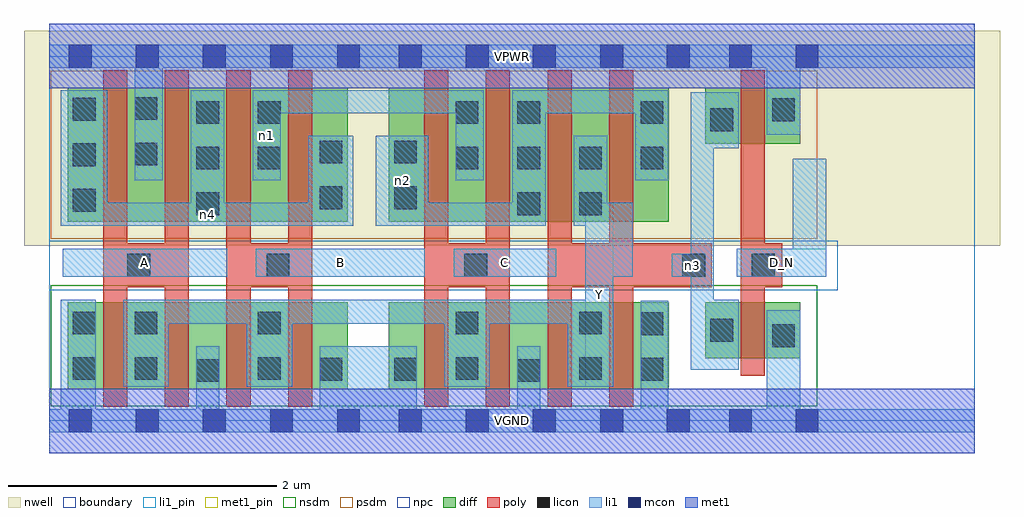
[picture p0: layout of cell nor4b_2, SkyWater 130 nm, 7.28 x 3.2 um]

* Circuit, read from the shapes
.subckt nor4b_2 A B C D_N VGND VPWR Y n1 n2 n3 n4
XM1 Y A VGND VSUBS sky130_fd_pr__nfet_01v8 w=0.65 l=0.18 m=2
XM2 Y B VGND VSUBS sky130_fd_pr__nfet_01v8 w=0.65 l=0.18 m=2
XM3 Y C VGND VSUBS sky130_fd_pr__nfet_01v8 w=0.65 l=0.18 m=2
XM4 Y n3 VGND VSUBS sky130_fd_pr__nfet_01v8 w=0.65 l=0.18 m=2
XM5 VGND D_N n3 VSUBS sky130_fd_pr__nfet_01v8 w=0.42 l=0.18
XM6 VPWR A n4 n5 sky130_fd_pr__pfet_01v8 w=1 l=0.18 m=2
XM7 n1 B n4 n5 sky130_fd_pr__pfet_01v8 w=1 l=0.18 m=2
XM8 n1 C n2 n5 sky130_fd_pr__pfet_01v8 w=1 l=0.18 m=2
XM9 Y n3 n2 n5 sky130_fd_pr__pfet_01v8 w=1 l=0.18 m=2
XM10 VPWR D_N n3 n5 sky130_fd_pr__pfet_01v8 w=0.42 l=0.18
.ends

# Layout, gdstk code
import gdstk
lib = gdstk.Library(unit=1e-6, precision=1e-09)
def R(c, l, rs):  # rectangles x0, y0, x1, y1
    for r in rs: c.add(gdstk.rectangle(r[:2], r[2:], *l))
def A(c, l, x, y, w, h, nx, ny, dx, dy):  # array of equal rectangles
    R(c, l, [(x+i*dx, y+j*dy, x+i*dx+w, y+j*dy+h) for i in range(nx) for j in range(ny)])
nwell = (64, 20)
diff = (65, 20)
poly = (66, 20)
licon = (66, 44)
li1_pin = (67, 16)
li1 = (67, 20)
mcon = (67, 44)
met1_pin = (68, 16)
met1 = (68, 20)
nsdm = (93, 44)
psdm = (94, 20)
npc = (95, 20)
boundary = (235, 4)

nor4b_2 = lib.new_cell('nor4b_2')
R(nor4b_2, nwell, [(-0.19,1.305,7.09,2.91), (0,1.305,6.9,2.91)])
R(nor4b_2, diff, [(0.135,0.235,2.225,0.885), (2.53,0.235,4.62,0.885), (4.89,0.465,5.6,0.885), (0.135,1.485,2.225,2.485), (2.53,1.485,4.62,2.485), (4.89,2.065,5.6,2.485)])
A(nor4b_2, poly, 0.4, 0.105, 0.18, 2.51, 4, 1, 0.46, 0)
A(nor4b_2, poly, 2.795, 0.105, 0.18, 2.51, 4, 1, 0.46, 0)
R(nor4b_2, poly, [(5.155,0.335,5.335,2.615), (0.4,0.995,1.04,1.325), (1.32,0.995,1.96,1.325), (2.795,0.995,3.435,1.325), (3.715,0.995,4.94,1.325), (5.155,0.995,5.465,1.325)])
A(nor4b_2, licon, 1.095, 1.535, 0.17, 0.17, 1, 3, 0, 0.34)
A(nor4b_2, licon, 0.175, 1.56, 0.17, 0.17, 1, 3, 0, 0.34)
A(nor4b_2, licon, 3.03, 1.875, 0.17, 0.17, 4, 1, 0.46, 0)
R(nor4b_2, licon, [(1.095,0.29,1.265,0.46), (3.49,0.29,3.66,0.46), (2.015,0.3,2.185,0.47), (2.57,0.3,2.74,0.47), (4.41,0.3,4.58,0.47), (0.175,0.305,0.345,0.475), (0.635,0.305,0.805,0.475), (1.555,0.305,1.725,0.475), (3.03,0.305,3.2,0.475), (3.95,0.305,4.12,0.475), (5.39,0.55,5.56,0.72), (4.93,0.59,5.1,0.76), (4.41,0.64,4.58,0.81), (0.175,0.645,0.345,0.815), (0.635,0.645,0.805,0.815), (1.555,0.645,1.725,0.815), (3.03,0.645,3.2,0.815), (3.95,0.645,4.12,0.815), (0.58,1.075,0.75,1.245), (1.62,1.075,1.79,1.245), (3.095,1.075,3.265,1.245), (4.72,1.075,4.89,1.245), (5.24,1.075,5.41,1.245), (3.49,1.535,3.66,1.705), (3.95,1.535,4.12,1.705), (2.015,1.58,2.185,1.75), (2.57,1.58,2.74,1.75), (1.555,1.875,1.725,2.045), (0.635,1.905,0.805,2.075), (2.015,1.92,2.185,2.09), (2.57,1.92,2.74,2.09), (4.93,2.16,5.1,2.33), (1.555,2.215,1.725,2.385), (3.03,2.215,3.2,2.385), (3.49,2.215,3.66,2.385), (4.41,2.215,4.58,2.385), (5.39,2.235,5.56,2.405), (0.635,2.245,0.805,2.415)])
R(nor4b_2, li1_pin, [(3.995,0.255,4.205,1.625), (0.1,1.075,1.325,1.285), (1.54,1.075,2.8,1.285), (3.015,1.075,3.78,1.285), (5.125,1.075,5.795,1.285)])
R(nor4b_2, li1, [(0,-0.085,6.9,0.085), (0.085,-0.085,0.345,0.905), (1.095,-0.085,1.265,0.555), (2.015,-0.085,2.74,0.555), (3.49,-0.085,3.66,0.555), (4.41,-0.085,4.615,0.895), (5.35,-0.085,5.6,0.825), (0.55,0.255,0.89,0.905), (1.47,0.255,1.81,0.905), (2.945,0.255,3.285,0.905), (3.865,0.255,4.205,0.905), (3.995,0.255,4.205,1.625), (4.785,0.38,4.955,2.45), (4.785,0.38,5.14,0.905), (0.55,0.725,4.205,0.905), (0.1,1.075,1.325,1.285), (1.54,1.075,2.8,1.285), (3.015,1.075,3.78,1.285), (3.995,1.075,4.35,1.625), (4.64,1.075,4.955,1.245), (5.125,1.075,5.795,1.285), (5.545,1.075,5.795,1.955), (0.085,1.455,2.265,1.625), (0.085,1.455,0.43,2.465), (1.055,1.455,1.305,2.465), (1.93,1.455,2.265,2.125), (2.435,1.455,2.825,2.125), (2.435,1.455,3.7,1.625), (3.45,1.455,3.7,2.465), (3.91,1.455,4.16,2.125), (0.635,1.795,0.845,2.805), (1.515,1.795,1.725,2.465), (3.03,1.795,3.24,2.465), (4.37,1.795,4.615,2.465), (4.785,2.035,5.14,2.45), (5.35,2.135,5.6,2.805), (1.515,2.295,3.24,2.465), (3.45,2.295,4.615,2.465), (0,2.635,6.9,2.805)])
A(nor4b_2, mcon, 0.145, -0.085, 0.17, 0.17, 5, 2, 0.5, 2.72)
A(nor4b_2, mcon, 2.605, -0.085, 0.17, 0.17, 3, 2, 0.5, 2.72)
R(nor4b_2, mcon, [(4.11,-0.085,4.28,0.085), (4.605,-0.085,4.775,0.085), (5.07,-0.085,5.24,0.085), (5.565,-0.085,5.735,0.085), (4.11,2.635,4.28,2.805), (4.605,2.635,4.775,2.805), (5.07,2.635,5.24,2.805), (5.565,2.635,5.735,2.805)])
R(nor4b_2, met1_pin, [(0,-0.24,6.9,0.24), (0,2.48,6.9,2.96)])
R(nor4b_2, met1, [(0,-0.24,6.9,0.24), (0,2.48,6.9,2.96)])
R(nor4b_2, nsdm, [(0.01,0.11,5.725,1.01)])
R(nor4b_2, psdm, [(0.01,1.36,5.725,2.61)])
R(nor4b_2, npc, [(0,0.975,5.88,1.345)])
R(nor4b_2, boundary, [(0,0,6.9,2.72)])
nor4b_2.add(gdstk.Label('A', (0.712,1.18), layer=67, texttype=5))
nor4b_2.add(gdstk.Label('B', (2.17,1.18), layer=67, texttype=5))
nor4b_2.add(gdstk.Label('C', (3.397,1.18), layer=67, texttype=5))
nor4b_2.add(gdstk.Label('D_N', (5.46,1.18), layer=67, texttype=5))
nor4b_2.add(gdstk.Label('Y', (4.1,0.94), layer=67, texttype=5))
nor4b_2.add(gdstk.Label('n3', (4.797,1.16), layer=67, texttype=5))
nor4b_2.add(gdstk.Label('n4', (1.175,1.54), layer=67, texttype=5))
nor4b_2.add(gdstk.Label('n1', (1.62,2.13), layer=67, texttype=5))
nor4b_2.add(gdstk.Label('n2', (2.63,1.79), layer=67, texttype=5))
nor4b_2.add(gdstk.Label('VPWR', (3.45,2.72), layer=68, texttype=5))
nor4b_2.add(gdstk.Label('VGND', (3.45,0), layer=68, texttype=5))
nor4b_2.add(gdstk.Label('A', (0.712,1.18), layer=67, texttype=16))
nor4b_2.add(gdstk.Label('B', (2.17,1.18), layer=67, texttype=16))
nor4b_2.add(gdstk.Label('C', (3.397,1.18), layer=67, texttype=16))
nor4b_2.add(gdstk.Label('D_N', (5.46,1.18), layer=67, texttype=16))
nor4b_2.add(gdstk.Label('Y', (4.1,0.94), layer=67, texttype=16))
nor4b_2.add(gdstk.Label('VPWR', (3.45,2.72), layer=68, texttype=16))
nor4b_2.add(gdstk.Label('VGND', (3.45,0), layer=68, texttype=16))

lib.write_gds('nor4b_2.gds')
